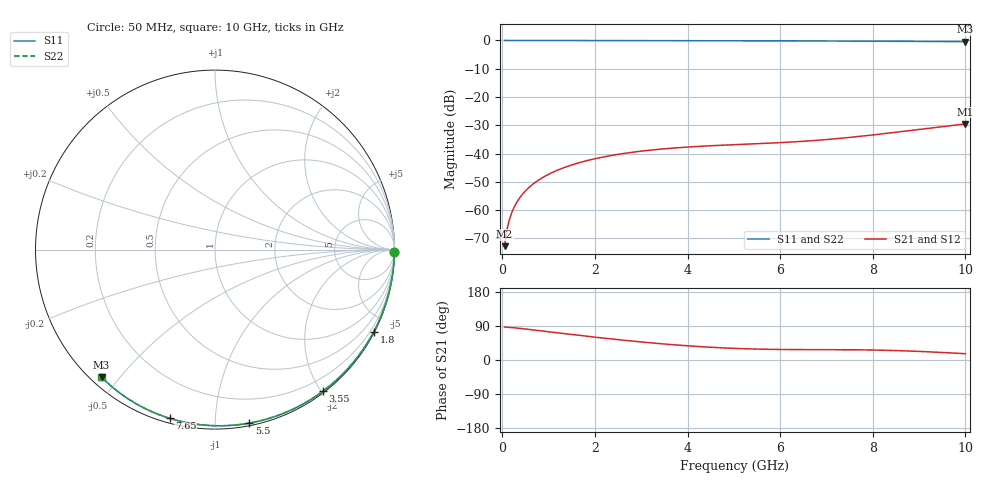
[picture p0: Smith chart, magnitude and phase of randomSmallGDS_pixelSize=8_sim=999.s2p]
! freq	dB(S11)	phase(S11)	dB(S12)	phase(S12)
!  dB(S21)	phase(S21)	dB(S22)	phase(S22)
!S-par simulation data
#  GHz  S  DB  R 50
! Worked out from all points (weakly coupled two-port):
!   200 points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, 50 MHz to 10 GHz, reference 50 ohm
!   highest |S21| = -29.51 dB at 10 GHz (marker M1); lowest = -72.7 dB at 50 MHz (marker M2)
!   lowest |S11| = -0.4 dB at 10 GHz (marker M3), VSWR 39.80, Z = 1.51 - j22.4 ohm
!   |S11| at or under -10 dB: nowhere
!   |S22| runs from -0.4 to 0.0 dB; largest |S21 - S12| = 0
!   S11 on the Smith chart (normalised r, x): 50 MHz: open; 1.8 GHz: 0.04, -4.11; 3.55 GHz: 0.02, -2.02; 5.5 GHz: 0.02, -1.22; 7.65 GHz: 0.02, -0.77; 10 GHz: 0.03, -0.45
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0.05  -0.00 -0.8  -72.73 87.1  -72.73 87.1  -0.00 -0.8
0.1  -0.00 -1.5  -66.93 86.4  -66.93 86.4  -0.00 -1.5
0.15  -0.00 -2.3  -63.51 86.1  -63.51 86.1  -0.00 -2.3
0.2  -0.00 -3.1  -61.05 85.6  -61.05 85.6  -0.00 -3.1
0.25  -0.00 -3.9  -59.14 85.1  -59.14 85.1  -0.00 -3.9
0.35  -0.00 -5.4  -56.25 83.8  -56.25 83.8  -0.00 -5.4
0.5  -0.01 -7.7  -53.19 81.8  -53.19 81.8  -0.01 -7.7
0.7  -0.01 -10.8  -50.31 78.9  -50.31 78.9  -0.01 -10.8
1  -0.02 -15.3  -47.31 74.6  -47.31 74.6  -0.02 -15.3
1.35  -0.03 -20.6  -44.85 69.5  -44.85 69.5  -0.03 -20.6
1.75  -0.03 -26.6  -42.81 63.8  -42.81 63.8  -0.03 -26.6
1.8  -0.03 -27.3  -42.60 63.1  -42.60 63.1  -0.03 -27.3
2.5  -0.05 -37.6  -40.26 53.7  -40.26 53.7  -0.05 -37.6
3.4  -0.07 -50.5  -38.44 43.2  -38.44 43.2  -0.07 -50.5
3.55  -0.07 -52.6  -38.23 41.7  -38.23 41.7  -0.07 -52.6
4.3  -0.09 -63.0  -37.39 35.1  -37.39 35.1  -0.09 -63.0
5.05  -0.11 -72.9  -36.82 30.5  -36.82 30.5  -0.11 -73.0
5.5  -0.13 -78.8  -36.51 28.8  -36.51 28.8  -0.13 -78.8
6.7  -0.18 -93.7  -35.42 27.4  -35.42 27.4  -0.18 -93.8
7.65  -0.23 -105.1  -34.02 26.9  -34.02 26.9  -0.23 -105.1
8.35  -0.28 -113.2  -32.74 25.4  -32.74 25.4  -0.28 -113.2
10  -0.44 -131.7  -29.51 16.6  -29.51 16.6  -0.44 -131.7
